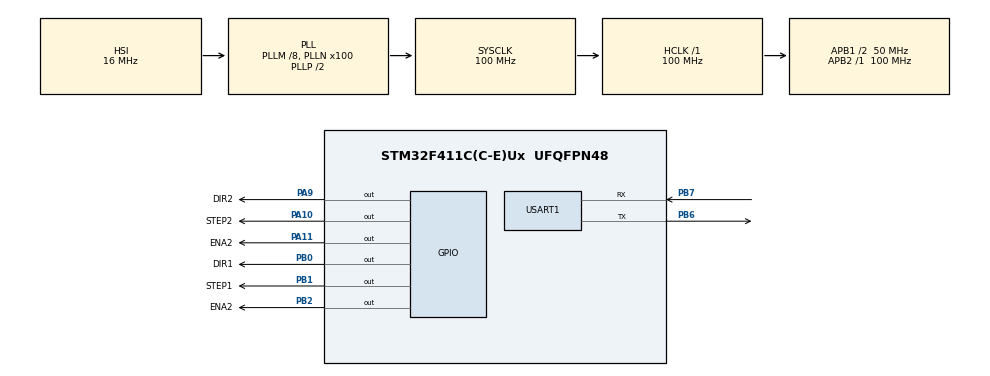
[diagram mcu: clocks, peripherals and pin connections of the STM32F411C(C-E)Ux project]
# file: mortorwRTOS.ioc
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Dma.Request0=USART1_RX
Dma.USART1_RX.0.Direction=DMA_PERIPH_TO_MEMORY
Dma.USART1_RX.0.FIFOMode=DMA_FIFOMODE_DISABLE
Dma.USART1_RX.0.Instance=DMA2_Stream2
Dma.USART1_RX.0.MemDataAlignment=DMA_MDATAALIGN_BYTE
Dma.USART1_RX.0.MemInc=DMA_MINC_ENABLE
Dma.USART1_RX.0.Mode=DMA_CIRCULAR
Dma.USART1_RX.0.PeriphDataAlignment=DMA_PDATAALIGN_BYTE
Dma.USART1_RX.0.PeriphInc=DMA_PINC_DISABLE
Dma.USART1_RX.0.Priority=DMA_PRIORITY_LOW
FREERTOS.Tasks01=motor1,0,512,startmotor1,Default,NULL,Dynamic,NULL,NULL;motor2,0,512,startmotor2,Default,NULL,Dynamic,NULL,NULL
FREERTOS.configUSE_NEWLIB_REENTRANT=1
Mcu.Family=STM32F4
Mcu.Name=STM32F411C(C-E)Ux
Mcu.Package=UFQFPN48
NVIC.DMA2_Stream2_IRQn=true\:5\:0\:false\:false\:true\:true\:false\:true\:true
NVIC.PriorityGroup=NVIC_PRIORITYGROUP_4
NVIC.TIM3_IRQn=true\:15\:0\:false\:false\:true\:false\:false\:true\:true
NVIC.TimeBase=TIM3_IRQn
NVIC.TimeBaseIP=TIM3
NVIC.USART1_IRQn=true\:5\:0\:false\:false\:true\:true\:true\:true\:true
PA10.GPIO_Label=STEP2
PA10.Signal=GPIO_Output
PA11.GPIO_Label=ENA2
PA11.Signal=GPIO_Output
PA13.Mode=Serial_Wire
PA13.Signal=SYS_JTMS-SWDIO
PA14.Mode=Serial_Wire
PA14.Signal=SYS_JTCK-SWCLK
PA9.GPIO_Label=DIR2
PA9.Signal=GPIO_Output
PB0.GPIO_Label=DIR1
PB0.Signal=GPIO_Output
PB1.GPIO_Label=STEP1
PB1.Signal=GPIO_Output
PB2.GPIO_Label=ENA2
PB2.Signal=GPIO_Output
PB6.Mode=Asynchronous
PB6.Signal=USART1_TX
PB7.Mode=Asynchronous
PB7.Signal=USART1_RX
PH0\ -\ OSC_IN.Mode=HSE-External-Oscillator
PH0\ -\ OSC_IN.Signal=RCC_OSC_IN
PH1\ -\ OSC_OUT.Mode=HSE-External-Oscillator
PH1\ -\ OSC_OUT.Signal=RCC_OSC_OUT
ProjectManager.HeapSize=0x200
ProjectManager.StackSize=0x400
ProjectManager.TargetToolchain=CMake
RCC.48MHZClocksFreq_Value=50000000
RCC.AHBFreq_Value=100000000
RCC.APB1CLKDivider=RCC_HCLK_DIV2
RCC.APB1Freq_Value=50000000
RCC.APB1TimFreq_Value=100000000
RCC.APB2Freq_Value=100000000
RCC.APB2TimFreq_Value=100000000
RCC.CortexFreq_Value=100000000
RCC.HCLKFreq_Value=100000000
RCC.HSE_VALUE=25000000
RCC.HSI_VALUE=16000000
RCC.LSE_VALUE=32768
RCC.PLLM=8
RCC.PLLN=100
RCC.SYSCLKFreq_VALUE=100000000
RCC.SYSCLKSource=RCC_SYSCLKSOURCE_PLLCLK
RCC.VCOOutputFreq_Value=200000000
TIM1.Prescaler=99
TIM2.Prescaler=99
USART1.VirtualMode=VM_ASYNC
VP_FREERTOS_VS_CMSIS_V1.Mode=CMSIS_V1
VP_SYS_VS_tim3.Mode=TIM3
VP_TIM1_VS_ClockSourceINT.Mode=Internal
VP_TIM2_VS_ClockSourceINT.Mode=Internal
board=custom

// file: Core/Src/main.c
/* USER CODE BEGIN Header */
/**
  ******************************************************************************
  * @file           : main.c
  * @brief          : Main program body
  ******************************************************************************
  * @attention
  *
  * Copyright (c) 2026 STMicroelectronics.
  * All rights reserved.
  *
  * This software is licensed under terms that can be found in the LICENSE file
  * in the root directory of this software component.
  * If no LICENSE file comes with this software, it is provided AS-IS.
  *
  ******************************************************************************
  */
/* USER CODE END Header */
#include "main.h"
#include "cmsis_os.h"

/* USER CODE BEGIN Includes */
#include <stdio.h>
/* USER CODE END Includes */

/* USER CODE BEGIN PTD */
typedef struct {
  int motor_id;   // 1 for Motor 1, 2 for Motor 2
  int direction;  // 1 for CW, 0 for CCW
  int steps;      // Number of steps to take
  int speed_us;   // Microsecond delay between pulses
} MotorCommand_t;
/* USER CODE END PTD */

TIM_HandleTypeDef htim1;
TIM_HandleTypeDef htim2;

UART_HandleTypeDef huart1;
DMA_HandleTypeDef hdma_usart1_rx;

osThreadId motor1Handle;
osThreadId motor2Handle;
/* USER CODE BEGIN PV */
uint8_t command_buffer[128];

// Include FreeRTOS queue library
#include "queue.h"
QueueHandle_t commandQueue;
/* USER CODE END PV */

void SystemClock_Config(void);
static void MX_GPIO_Init(void);
static void MX_DMA_Init(void);
static void MX_TIM1_Init(void);
static void MX_TIM2_Init(void);
static void MX_USART1_UART_Init(void);
void startmotor1(void const * argument);
void startmotor2(void const * argument);

/* USER CODE BEGIN 0 */
// Delay function using the hardware timer (TIM1 for Motor 1)
void microDelay1 (uint16_t delay) {
  __HAL_TIM_SET_COUNTER(&htim1, 0);
  while (__HAL_TIM_GET_COUNTER(&htim1) < delay);
}
/* USER CODE END 0 */

int main(void)
{

  /* USER CODE BEGIN 1 */
//

  /* USER CODE END 1 */

  /* MCU Configuration--------------------------------------------------------*/

  /* Reset of all peripherals, Initializes the Flash interface and the Systick. */
  HAL_Init();

  /* Configure the system clock */
  SystemClock_Config();

  /* Initialize all configured peripherals */
  MX_GPIO_Init();
  MX_DMA_Init();
  MX_TIM1_Init();
  MX_TIM2_Init();
  MX_USART1_UART_Init();
  /* USER CODE BEGIN 2 */
  HAL_TIM_Base_Start(&htim1); // Start timer for Motor 1
  HAL_TIM_Base_Start(&htim2); // Start timer for Motor 2

  HAL_UARTEx_ReceiveToIdle_DMA(&huart1,command_buffer,sizeof(command_buffer));
  /* USER CODE END 2 */

  /* USER CODE BEGIN RTOS_QUEUES */
  /* add queues, ... */
  commandQueue = xQueueCreate(10, sizeof(MotorCommand_t));
  /* USER CODE END RTOS_QUEUES */

  /* Create the thread(s) */
  /* definition and creation of motor1 */
  osThreadDef(motor1, startmotor1, osPriorityNormal, 0, 512);
  motor1Handle = osThreadCreate(osThread(motor1), NULL);

  /* definition and creation of motor2 */
  osThreadDef(motor2, startmotor2, osPriorityNormal, 0, 512);
  motor2Handle = osThreadCreate(osThread(motor2), NULL);

  /* Start scheduler */
  osKernelStart();

  /* We should never get here as control is now taken by the scheduler */

  /* Infinite loop */
  /* USER CODE BEGIN WHILE */
  while (1)
  {
    // __HAL_UART_ENABLE_IT(&huart1, UART_IT_RXNE, ENABLE);
    /* USER CODE END WHILE */

  }
}

void SystemClock_Config(void)
{
  RCC_OscInitTypeDef RCC_OscInitStruct = {0};
  RCC_ClkInitTypeDef RCC_ClkInitStruct = {0};

  /** Configure the main internal regulator output voltage
  */
  __HAL_RCC_PWR_CLK_ENABLE();
  __HAL_PWR_VOLTAGESCALING_CONFIG(PWR_REGULATOR_VOLTAGE_SCALE1);

  /** Initializes the RCC Oscillators according to the specified parameters
  * in the RCC_OscInitTypeDef structure.
  */
  RCC_OscInitStruct.OscillatorType = RCC_OSCILLATORTYPE_HSI;
  RCC_OscInitStruct.HSIState = RCC_HSI_ON;
  RCC_OscInitStruct.HSICalibrationValue = RCC_HSICALIBRATION_DEFAULT;
  RCC_OscInitStruct.PLL.PLLState = RCC_PLL_ON;
  RCC_OscInitStruct.PLL.PLLSource = RCC_PLLSOURCE_HSI;
  RCC_OscInitStruct.PLL.PLLM = 8;
  RCC_OscInitStruct.PLL.PLLN = 100;
  RCC_OscInitStruct.PLL.PLLP = RCC_PLLP_DIV2;
  RCC_OscInitStruct.PLL.PLLQ = 4;
  if (HAL_RCC_OscConfig(&RCC_OscInitStruct) != HAL_OK)
  {
    Error_Handler();
  }

  /** Initializes the CPU, AHB and APB buses clocks
  */
  RCC_ClkInitStruct.ClockType = RCC_CLOCKTYPE_HCLK|RCC_CLOCKTYPE_SYSCLK
                              |RCC_CLOCKTYPE_PCLK1|RCC_CLOCKTYPE_PCLK2;
  RCC_ClkInitStruct.SYSCLKSource = RCC_SYSCLKSOURCE_PLLCLK;
  RCC_ClkInitStruct.AHBCLKDivider = RCC_SYSCLK_DIV1;
  RCC_ClkInitStruct.APB1CLKDivider = RCC_HCLK_DIV2;
  RCC_ClkInitStruct.APB2CLKDivider = RCC_HCLK_DIV1;

  if (HAL_RCC_ClockConfig(&RCC_ClkInitStruct, FLASH_LATENCY_3) != HAL_OK)
  {
    Error_Handler();
  }
}

static void MX_TIM1_Init(void)
{

  TIM_ClockConfigTypeDef sClockSourceConfig = {0};
  TIM_MasterConfigTypeDef sMasterConfig = {0};

  htim1.Instance = TIM1;
  htim1.Init.Prescaler = 99;
  htim1.Init.CounterMode = TIM_COUNTERMODE_UP;
  htim1.Init.Period = 65535;
  htim1.Init.ClockDivision = TIM_CLOCKDIVISION_DIV1;
  htim1.Init.RepetitionCounter = 0;
  htim1.Init.AutoReloadPreload = TIM_AUTORELOAD_PRELOAD_DISABLE;
  if (HAL_TIM_Base_Init(&htim1) != HAL_OK)
  {
    Error_Handler();
  }
  sClockSourceConfig.ClockSource = TIM_CLOCKSOURCE_INTERNAL;
  if (HAL_TIM_ConfigClockSource(&htim1, &sClockSourceConfig) != HAL_OK)
  {
    Error_Handler();
  }
  sMasterConfig.MasterOutputTrigger = TIM_TRGO_RESET;
  sMasterConfig.MasterSlaveMode = TIM_MASTERSLAVEMODE_DISABLE;
  if (HAL_TIMEx_MasterConfigSynchronization(&htim1, &sMasterConfig) != HAL_OK)
  {
    Error_Handler();
  }

}

static void MX_TIM2_Init(void)
{

  TIM_ClockConfigTypeDef sClockSourceConfig = {0};
  TIM_MasterConfigTypeDef sMasterConfig = {0};

  htim2.Instance = TIM2;
  htim2.Init.Prescaler = 99;
  htim2.Init.CounterMode = TIM_COUNTERMODE_UP;
  htim2.Init.Period = 4294967295;
  htim2.Init.ClockDivision = TIM_CLOCKDIVISION_DIV1;
  htim2.Init.AutoReloadPreload = TIM_AUTORELOAD_PRELOAD_DISABLE;
  if (HAL_TIM_Base_Init(&htim2) != HAL_OK)
  {
    Error_Handler();
  }
  sClockSourceConfig.ClockSource = TIM_CLOCKSOURCE_INTERNAL;
  if (HAL_TIM_ConfigClockSource(&htim2, &sClockSourceConfig) != HAL_OK)
  {
    Error_Handler();
  }
  sMasterConfig.MasterOutputTrigger = TIM_TRGO_RESET;
  sMasterConfig.MasterSlaveMode = TIM_MASTERSLAVEMODE_DISABLE;
  if (HAL_TIMEx_MasterConfigSynchronization(&htim2, &sMasterConfig) != HAL_OK)
  {
    Error_Handler();
  }

}

static void MX_USART1_UART_Init(void)
{

  huart1.Instance = USART1;
  huart1.Init.BaudRate = 115200;
  huart1.Init.WordLength = UART_WORDLENGTH_8B;
  huart1.Init.StopBits = UART_STOPBITS_1;
  huart1.Init.Parity = UART_PARITY_NONE;
  huart1.Init.Mode = UART_MODE_TX_RX;
  huart1.Init.HwFlowCtl = UART_HWCONTROL_NONE;
  huart1.Init.OverSampling = UART_OVERSAMPLING_16;
  if (HAL_UART_Init(&huart1) != HAL_OK)
  {
    Error_Handler();
  }

}

static void MX_DMA_Init(void)
{

  /* DMA controller clock enable */
  __HAL_RCC_DMA2_CLK_ENABLE();

  /* DMA interrupt init */
  /* DMA2_Stream2_IRQn interrupt configuration */
  HAL_NVIC_SetPriority(DMA2_Stream2_IRQn, 5, 0);
  HAL_NVIC_EnableIRQ(DMA2_Stream2_IRQn);

}

static void MX_GPIO_Init(void)
{
  GPIO_InitTypeDef GPIO_InitStruct = {0};

  /* GPIO Ports Clock Enable */
  __HAL_RCC_GPIOH_CLK_ENABLE();
  __HAL_RCC_GPIOB_CLK_ENABLE();
  __HAL_RCC_GPIOA_CLK_ENABLE();

  /*Configure GPIO pin Output Level */
  HAL_GPIO_WritePin(GPIOB, DIR1_Pin|STEP1_Pin|ENA2_Pin, GPIO_PIN_RESET);

  /*Configure GPIO pin Output Level */
  HAL_GPIO_WritePin(GPIOA, DIR2_Pin|STEP2_Pin|ENA2A11_Pin, GPIO_PIN_RESET);

  /*Configure GPIO pins : DIR1_Pin STEP1_Pin ENA2_Pin */
  GPIO_InitStruct.Pin = DIR1_Pin|STEP1_Pin|ENA2_Pin;
  GPIO_InitStruct.Mode = GPIO_MODE_OUTPUT_PP;
  GPIO_InitStruct.Pull = GPIO_NOPULL;
  GPIO_InitStruct.Speed = GPIO_SPEED_FREQ_LOW;
  HAL_GPIO_Init(GPIOB, &GPIO_InitStruct);

  /*Configure GPIO pins : DIR2_Pin STEP2_Pin ENA2A11_Pin */
  GPIO_InitStruct.Pin = DIR2_Pin|STEP2_Pin|ENA2A11_Pin;
  GPIO_InitStruct.Mode = GPIO_MODE_OUTPUT_PP;
  GPIO_InitStruct.Pull = GPIO_NOPULL;
  GPIO_InitStruct.Speed = GPIO_SPEED_FREQ_LOW;
  HAL_GPIO_Init(GPIOA, &GPIO_InitStruct);

}

/* USER CODE BEGIN 4 */
/**
 * @brief Moves a stepper motor using hardware timers for precise RTOS delays
 * @param steps: Number of steps to take
 * @param direction: 1 for CW, 0 for CCW
 * @param speed_us: Microseconds between pulses (lower is faster)
 * @param STEP_Port: GPIO port for Step (e.g., GPIOA)
 * @param STEP_Pin: GPIO pin for Step
 * @param DIR_Port: GPIO port for Direction
 * @param DIR_Pin: GPIO pin for Direction
 * @param htim: Hardware Timer handle (e.g., &htim1)
 */

void HAL_UARTEx_RxEventCallback(UART_HandleTypeDef *huart, uint16_t Size) {
  if (huart->Instance == USART1) {

    // 1. Safely turn the received raw bytes into a standard C string
    command_buffer[Size] = '\0';

    MotorCommand_t new_cmd;

    // 2. Extract the 4 numbers from the string (Format: "Motor,Dir,Steps,Speed")
    if (sscanf((char*)command_buffer, "%d,%d,%d,%d",
               &new_cmd.motor_id, &new_cmd.direction, &new_cmd.steps, &new_cmd.speed_us) == 4) {

      // 3. Push the struct into the FreeRTOS queue
      BaseType_t xHigherPriorityTaskWoken = pdFALSE;
      xQueueSendFromISR(commandQueue, &new_cmd, &xHigherPriorityTaskWoken);

      // 4. Force a fast context switch if a motor task was waiting for this
      portYIELD_FROM_ISR(xHigherPriorityTaskWoken);
               }

    // 5. Restart the DMA listener for the next command
    HAL_UARTEx_ReceiveToIdle_DMA(&huart1, command_buffer, sizeof(command_buffer));
    __HAL_DMA_DISABLE_IT(&hdma_usart1_rx, DMA_IT_HT);
  }
}
// ... your Step_Motor function stays the same ...

void Step_Motor(int steps, uint8_t direction, uint16_t speed_us,
                GPIO_TypeDef* STEP_Port, uint16_t STEP_Pin,
                GPIO_TypeDef* DIR_Port, uint16_t DIR_Pin,
                TIM_HandleTypeDef *htim)
{
    // 1. Set Direction
    HAL_GPIO_WritePin(DIR_Port, DIR_Pin, direction ? GPIO_PIN_SET : GPIO_PIN_RESET);

    // 2. Pulse Loop
    for (int i = 0; i < steps; i++) {
        // Step HIGH
        HAL_GPIO_WritePin(STEP_Port, STEP_Pin, GPIO_PIN_SET);

        // Hardware Microsecond Delay (Replaces software delay loop)
        __HAL_TIM_SET_COUNTER(htim, 0);
        while (__HAL_TIM_GET_COUNTER(htim) < speed_us);

        // Step LOW
        HAL_GPIO_WritePin(STEP_Port, STEP_Pin, GPIO_PIN_RESET);

        // Hardware Microsecond Delay
        __HAL_TIM_SET_COUNTER(htim, 0);
        while (__HAL_TIM_GET_COUNTER(htim) < speed_us);
    }
}
/* USER CODE END 4 */

void startmotor1(void const * argument)
{
  /* USER CODE BEGIN 5 */
  MotorCommand_t received_cmd;

  /* Infinite loop */
  for(;;)
  {
    // xQueueReceive will PAUSE this thread entirely until data arrives.
    // portMAX_DELAY means it will wait forever, consuming 0% CPU!
    if (xQueueReceive(commandQueue, &received_cmd, portMAX_DELAY) == pdPASS) {

      // We got a command! Is it meant for Motor 1?
      if (received_cmd.motor_id == 1) {

        // Execute the physical movement
        Step_Motor(received_cmd.steps,
                   received_cmd.direction,
                   received_cmd.speed_us,
                   GPIOB, STEP1_Pin, GPIOB, DIR1_Pin, &htim1);
      }
    }
  }
  /* USER CODE END 5 */
}

void startmotor2(void const * argument)
{
  /* USER CODE BEGIN startmotor2 */
  MotorCommand_t received_cmd;

  /* Infinite loop */
  for(;;)
  {
    // xQueueReceive will PAUSE this thread entirely until data arrives.
    // portMAX_DELAY means it will wait forever, consuming 0% CPU!
    if (xQueueReceive(commandQueue, &received_cmd, portMAX_DELAY) == pdPASS) {

      // We got a command! Is it meant for Motor 1?
      if (received_cmd.motor_id == 2) {

        // Execute the physical movement
        Step_Motor(received_cmd.steps,
                   received_cmd.direction,
                   received_cmd.speed_us,
                   GPIOA, STEP2_Pin, GPIOA, DIR2_Pin, &htim2);
      }
    }
  }
  /* USER CODE END startmotor2 */
}

void HAL_TIM_PeriodElapsedCallback(TIM_HandleTypeDef *htim)
{
  if (htim->Instance == TIM3)
  {
    HAL_IncTick();
  }
}

void Error_Handler(void)
{
  __disable_irq();
  while (1)
  {
  }
}
